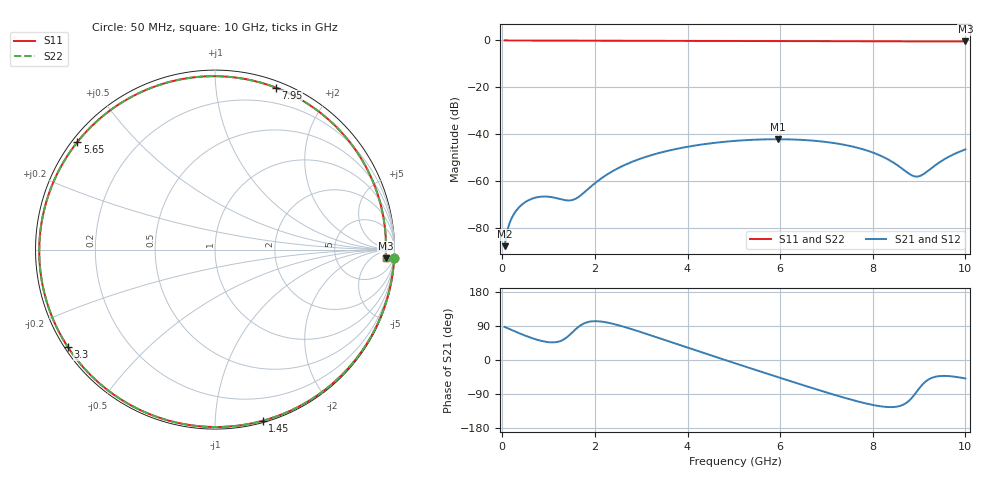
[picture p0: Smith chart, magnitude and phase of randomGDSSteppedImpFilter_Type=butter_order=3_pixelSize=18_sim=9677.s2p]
! freq	dB(S11)	phase(S11)	dB(S12)	phase(S12)
!  dB(S21)	phase(S21)	dB(S22)	phase(S22)
!S-par simulation data
#  GHz  S  DB  R 50
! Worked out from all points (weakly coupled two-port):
!   200 points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, 50 MHz to 10 GHz, reference 50 ohm
!   highest |S21| = -42.17 dB at 5.95 GHz (marker M1); lowest = -87.8 dB at 50 MHz (marker M2)
!   lowest |S11| = -0.4 dB at 10 GHz (marker M3), VSWR 40.18, Z = 996 - j1e+03 ohm
!   |S11| at or under -10 dB: nowhere
!   |S22| runs from -0.4 to 0.0 dB; largest |S21 - S12| = 0
!   S11 on the Smith chart (normalised r, x): 50 MHz: 0, -42; 1.45 GHz: 0.01, -1.32; 3.3 GHz: 0.01, -0.30; 5.65 GHz: 0.02, +0.34; 7.95 GHz: 0.06, +1.44; 10 GHz: 20, -20
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0.05  -0.00 -2.8  -87.81 87.3  -87.81 87.3  -0.00 -2.8
0.1  -0.01 -5.5  -81.83 84.6  -81.83 84.6  -0.01 -5.5
0.25  -0.02 -13.6  -74.10 76.6  -74.10 76.6  -0.02 -13.6
0.35  -0.03 -19.0  -71.46 71.5  -71.46 71.5  -0.03 -19.0
0.6  -0.04 -32.3  -67.89 59.5  -67.89 59.5  -0.04 -32.3
0.95  -0.06 -50.4  -66.64 47.8  -66.64 47.8  -0.06 -50.4
1.45  -0.09 -74.5  -68.30 65.7  -68.30 65.7  -0.09 -74.5
1.75  -0.10 -87.9  -65.19 95.7  -65.19 95.7  -0.10 -87.9
2.45  -0.12 -116.4  -55.06 93.6  -55.06 93.6  -0.12 -116.4
3.3  -0.15 -146.5  -48.49 61.3  -48.49 61.3  -0.15 -146.5
3.4  -0.15 -149.8  -47.96 57.2  -47.96 57.2  -0.15 -149.8
4.2  -0.18 -174.9  -44.73 24.6  -44.73 24.6  -0.18 -174.9
5.05  -0.21 159.7  -42.83 -9.6  -42.83 -9.6  -0.21 159.7
5.65  -0.23 142.0  -42.23 -33.4  -42.23 -33.4  -0.23 142.0
5.95  -0.25 133.0  -42.17 -45.2  -42.17 -45.2  -0.25 133.0
6.7  -0.28 110.1  -42.76 -74.3  -42.76 -74.3  -0.28 110.1
7.35  -0.30 89.4  -44.41 -98.3  -44.41 -98.3  -0.30 89.4
7.95  -0.32 69.5  -47.48 -117.3  -47.48 -117.3  -0.32 69.5
8.35  -0.33 55.8  -51.01 -124.3  -51.01 -124.3  -0.33 55.8
8.95  -0.35 34.7  -58.12 -83.4  -58.12 -83.4  -0.35 34.7
9.5  -0.39 15.1  -51.26 -42.0  -51.26 -42.0  -0.39 15.1
10  -0.43 -2.9  -46.51 -48.8  -46.51 -48.8  -0.43 -2.9
